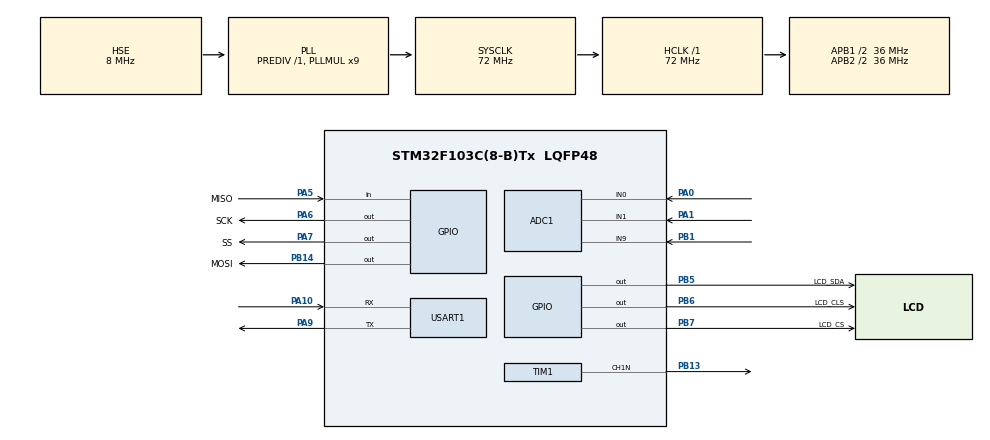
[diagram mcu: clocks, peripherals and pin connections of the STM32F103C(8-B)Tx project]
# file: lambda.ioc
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ADC1.Channel-0\#ChannelRegularConversion=ADC_CHANNEL_0
ADC1.Channel-1\#ChannelRegularConversion=ADC_CHANNEL_1
ADC1.Channel-2\#ChannelRegularConversion=ADC_CHANNEL_9
ADC1.ContinuousConvMode=ENABLE
ADC1.DataAlign=ADC_DATAALIGN_RIGHT
ADC1.DiscontinuousConvMode=DISABLE
ADC1.EnableAnalogWatchDog=false
ADC1.EnableRegularConversion=ENABLE
ADC1.ExternalTrigConv=ADC_SOFTWARE_START
ADC1.InjNumberOfConversion=0
ADC1.NbrOfConversion=3
ADC1.NbrOfConversionFlag=1
ADC1.Rank-0\#ChannelRegularConversion=1
ADC1.Rank-1\#ChannelRegularConversion=2
ADC1.Rank-2\#ChannelRegularConversion=3
ADC1.SamplingTime-0\#ChannelRegularConversion=ADC_SAMPLETIME_13CYCLES_5
ADC1.SamplingTime-1\#ChannelRegularConversion=ADC_SAMPLETIME_13CYCLES_5
ADC1.SamplingTime-2\#ChannelRegularConversion=ADC_SAMPLETIME_13CYCLES_5
ADC1.ScanConvMode=ADC_SCAN_ENABLE
ADC1.master=1
Dma.ADC1.0.Direction=DMA_PERIPH_TO_MEMORY
Dma.ADC1.0.Instance=DMA1_Channel1
Dma.ADC1.0.MemDataAlignment=DMA_MDATAALIGN_HALFWORD
Dma.ADC1.0.MemInc=DMA_MINC_ENABLE
Dma.ADC1.0.Mode=DMA_CIRCULAR
Dma.ADC1.0.PeriphDataAlignment=DMA_PDATAALIGN_HALFWORD
Dma.ADC1.0.PeriphInc=DMA_PINC_DISABLE
Dma.ADC1.0.Priority=DMA_PRIORITY_LOW
Dma.Request0=ADC1
Dma.Request1=USART1_RX
Dma.Request2=USART1_TX
Dma.USART1_RX.1.Direction=DMA_PERIPH_TO_MEMORY
Dma.USART1_RX.1.Instance=DMA1_Channel5
Dma.USART1_RX.1.MemDataAlignment=DMA_MDATAALIGN_BYTE
Dma.USART1_RX.1.MemInc=DMA_MINC_ENABLE
Dma.USART1_RX.1.Mode=DMA_NORMAL
Dma.USART1_RX.1.PeriphDataAlignment=DMA_PDATAALIGN_BYTE
Dma.USART1_RX.1.PeriphInc=DMA_PINC_DISABLE
Dma.USART1_RX.1.Priority=DMA_PRIORITY_MEDIUM
Dma.USART1_TX.2.Direction=DMA_MEMORY_TO_PERIPH
Dma.USART1_TX.2.Instance=DMA1_Channel4
Dma.USART1_TX.2.MemDataAlignment=DMA_MDATAALIGN_BYTE
Dma.USART1_TX.2.MemInc=DMA_MINC_ENABLE
Dma.USART1_TX.2.Mode=DMA_NORMAL
Dma.USART1_TX.2.PeriphDataAlignment=DMA_PDATAALIGN_BYTE
Dma.USART1_TX.2.PeriphInc=DMA_PINC_DISABLE
Dma.USART1_TX.2.Priority=DMA_PRIORITY_LOW
Mcu.Family=STM32F1
Mcu.Name=STM32F103C(8-B)Tx
Mcu.Package=LQFP48
NVIC.DMA1_Channel1_IRQn=true\:0\:0\:false\:false\:true
NVIC.DMA1_Channel4_IRQn=true\:0\:0\:false\:false\:true
NVIC.DMA1_Channel5_IRQn=true\:0\:0\:false\:false\:true
NVIC.PriorityGroup=NVIC_PRIORITYGROUP_2
NVIC.TIM1_UP_IRQn=true\:1\:1\:true\:false\:true
NVIC.USART1_IRQn=true\:0\:0\:false\:false\:true
PA0-WKUP.Signal=ADCx_IN0
PA1.Signal=ADCx_IN1
PA10.Mode=Asynchronous
PA10.Signal=USART1_RX
PA13.Mode=Serial_Wire
PA13.Signal=SYS_JTMS-SWDIO
PA14.Mode=Serial_Wire
PA14.Signal=SYS_JTCK-SWCLK
PA5.GPIO_Label=MISO
PA5.Signal=GPIO_Input
PA6.GPIO_Label=SCK
PA6.Signal=GPIO_Output
PA7.GPIO_Label=SS
PA7.Signal=GPIO_Output
PA9.Mode=Asynchronous
PA9.Signal=USART1_TX
PB1.Signal=ADCx_IN9
PB13.Mode=PWM Generation1 CH1N
PB13.Signal=TIM1_CH1N
PB14.GPIO_Label=MOSI
PB14.Signal=GPIO_Output
PB5.GPIO_Label=LCD_SDA
PB5.Signal=GPIO_Output
PB6.GPIO_Label=LCD_CLS
PB6.Signal=GPIO_Output
PB7.GPIO_Label=LCD_CS
PB7.Signal=GPIO_Output
PD0-OSC_IN.Mode=HSE-External-Oscillator
PD0-OSC_IN.Signal=RCC_OSC_IN
PD1-OSC_OUT.Mode=HSE-External-Oscillator
PD1-OSC_OUT.Signal=RCC_OSC_OUT
ProjectManager.HeapSize=0x200
ProjectManager.StackSize=0x400
ProjectManager.TargetToolchain=MDK-ARM V5
RCC.ADCPresc=RCC_ADCPCLK2_DIV4
RCC.AHBFreq_Value=72000000
RCC.APB1CLKDivider=RCC_HCLK_DIV2
RCC.APB1Freq_Value=36000000
RCC.APB1TimFreq_Value=72000000
RCC.APB2CLKDivider=RCC_HCLK_DIV2
RCC.APB2Freq_Value=36000000
RCC.APB2TimFreq_Value=72000000
RCC.HCLKFreq_Value=72000000
RCC.PLLMUL=RCC_PLL_MUL9
RCC.PLLSourceVirtual=RCC_PLLSOURCE_HSE
RCC.SYSCLKFreq_VALUE=72000000
RCC.SYSCLKSource=RCC_SYSCLKSOURCE_PLLCLK
RCC.USBFreq_Value=72000000
SH.ADCx_IN0.0=ADC1_IN0,IN0
SH.ADCx_IN1.0=ADC1_IN1,IN1
SH.ADCx_IN9.0=ADC1_IN9,IN9
TIM1.AutoReloadPreload=TIM_AUTORELOAD_PRELOAD_ENABLE
TIM1.Channel-PWM\ Generation1\ CH1N=TIM_CHANNEL_1
TIM1.Period=999
TIM1.Prescaler=71
TIM1.Pulse-PWM\ Generation1\ CH1N=200
USART1.VirtualMode=VM_ASYNC
VP_TIM1_VS_ClockSourceINT.Mode=Internal
board=lambda

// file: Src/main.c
/**
  ******************************************************************************
  * File Name          : main.c
  * Description        : Main program body
  ******************************************************************************
  ** This notice applies to any and all portions of this file
  * that are not between comment pairs USER CODE BEGIN and
  * USER CODE END. Other portions of this file, whether
  * inserted by the user or by software development tools
  * are owned by their respective copyright owners.
  *
  * COPYRIGHT(c) 2017 STMicroelectronics
  *
  * Redistribution and use in source and binary forms, with or without modification,
  * are permitted provided that the following conditions are met:
  *   1. Redistributions of source code must retain the above copyright notice,
  *      this list of conditions and the following disclaimer.
  *   2. Redistributions in binary form must reproduce the above copyright notice,
  *      this list of conditions and the following disclaimer in the documentation
  *      and/or other materials provided with the distribution.
  *   3. Neither the name of STMicroelectronics nor the names of its contributors
  *      may be used to endorse or promote products derived from this software
  *      without specific prior written permission.
  *
  * THIS SOFTWARE IS PROVIDED BY THE COPYRIGHT HOLDERS AND CONTRIBUTORS "AS IS"
  * AND ANY EXPRESS OR IMPLIED WARRANTIES, INCLUDING, BUT NOT LIMITED TO, THE
  * IMPLIED WARRANTIES OF MERCHANTABILITY AND FITNESS FOR A PARTICULAR PURPOSE ARE
  * DISCLAIMED. IN NO EVENT SHALL THE COPYRIGHT HOLDER OR CONTRIBUTORS BE LIABLE
  * FOR ANY DIRECT, INDIRECT, INCIDENTAL, SPECIAL, EXEMPLARY, OR CONSEQUENTIAL
  * DAMAGES (INCLUDING, BUT NOT LIMITED TO, PROCUREMENT OF SUBSTITUTE GOODS OR
  * SERVICES; LOSS OF USE, DATA, OR PROFITS; OR BUSINESS INTERRUPTION) HOWEVER
  * CAUSED AND ON ANY THEORY OF LIABILITY, WHETHER IN CONTRACT, STRICT LIABILITY,
  * OR TORT (INCLUDING NEGLIGENCE OR OTHERWISE) ARISING IN ANY WAY OUT OF THE USE
  * OF THIS SOFTWARE, EVEN IF ADVISED OF THE POSSIBILITY OF SUCH DAMAGE.
  *
  ******************************************************************************
  */
#include "main.h"
#include "stm32f1xx_hal.h"
#include "adc.h"
#include "dma.h"
#include "tim.h"
#include "usart.h"
#include "gpio.h"

/* USER CODE BEGIN Includes */
#include "DataFlash.h"
#include "spi.h"
#include "timer.h"

#define STATUS_IDLE 0
#define STATUS_INIT 1
#define STATUS_RAMPUP 2
#define STATUS_RUN 3
#define STATUS_ERR 4
#define LSU49

#ifdef LSU49
  uint16_t temperaturePoint=7600;

  #define R_SET 300.0
 int temp_r[11][2]={
		 {6350,10000},
		 {6450,9000},
		 {6550,8000},
		 {6700,7000},
		 {6850,6000},
		 {7150,5000},
		 {7380,4000},
		 {7800,3000},
		 {8450,2000},
		 {9000,1500},
		 {9500,1200},
 };

#else
  uint16_t temperaturePoint=7400;

  #define R_SET 82.5
 int temp_r[11][2]={
		 {6255,3000},
		 {6320,2000},
		 {6500,1700},
		 {6700,1500},
		 {6850,1200},
		 {7000,1080},
		 {7300,900},
		 {7500,820},
		 {7750,800},
		 {9000,460},
		 {9500,420},
 };

#endif

/* USER CODE END Includes */

/* USER CODE BEGIN PV */
/* Private variables ---------------------------------------------------------*/
  uint8_t saveFlag=0;
uint16_t ADC_buff[50][3]={0,0,0};
uint8_t uart_rx_buff[9];
uint8_t uart_tx_buff[50];
uint8_t version=0;
uint8_t Status_Machine=STATUS_IDLE;
PID_Type PID_Heater;
Saved_Type para_save;
int temp_ua,temp_ur,count_adj;
float urCurrentInit;
double  temp_UA=0,temp_UR=0;
double  k3=30;
/* USER CODE END PV */

void SystemClock_Config(void);

/* USER CODE BEGIN PFP */
/* Private function prototypes -----------------------------------------------*/

/* USER CODE END PFP */

/* USER CODE BEGIN 0 */

int  getAdcAfterFilt(uint8_t chanal , uint8_t filt)
{
	uint32_t adcDate=0,i;
	for(i = 0;i<50;i++)
	adcDate+=ADC_buff[i][chanal];
	return  (int)(adcDate/50);
}

 void Save_PID_Arg(void)
 {
 		STMFLASH_Write(FLASH_BASE+FLASH_PAGE_SIZE*50,(uint16_t *)&para_save,sizeof(Saved_Type)/2);

 }
void Init_PID_Arg(void)
{
		 STMFLASH_Read(FLASH_BASE+FLASH_PAGE_SIZE*50,(uint16_t *)&para_save,sizeof(Saved_Type)/2);
	   if(para_save.lambda==-1)
			{
				para_save.lambda=0;
				para_save.PID_Heater.pid_p=100;
				para_save.PID_Heater.pid_i=10;
				para_save.PID_Heater.pid_d=50;
				para_save.PID_Heater.pid_sumerr=0;
				para_save.R_Set = 3000;
				para_save.offsetUA = 0;
				para_save.offsetUR = 0;
				para_save.PWM_MAX=800;
				para_save.UA_Filt_Ratio=92;
				para_save.UR_Filt_Ratio=30;
			  para_save.O2PPRatio=840;      //博世1号(亿科拆下来的1号)多项式拟合
			//	para_save.O2PPRatio=824;   //基本公式（原来用的公式）
				//para_save.O2PPRatio=102;   //上硅所1号（已坏）
      	//para_save.O2PPRatio=83;   //博世1号(亿科拆下来的1号)
				para_save.partial=21;
				Save_PID_Arg();
		}
}

uint16_t get_temp(int r )
{
	uint8_t index=0;
	uint16_t err=0;

	for(index=0;index<11;index++)
		{
			if(r>temp_r[index][1])
				{
					break;
				}
		}
	err=(long )(temp_r[index-1][1]-r)*(temp_r[index][0]-temp_r[index-1][0])/(temp_r[index-1][1]-temp_r[index][1]);
	return err+temp_r[index-1][0];
}

uint16_t get_lambda_O2PP(double O2PP)
{

  double lambda=0;
	if(O2PP>=0&&O2PP<13)   //1%时理论lambda为1.08
		lambda = (O2PP /100/ 3 +1) / (1-O2PP/100*4.77)*1000-10;
	else if(O2PP>=13)
		lambda =9999;
	//else if(O2PP<0)
	//	lambda = (O2PP /100*2.668+1.00906) *1000;

 // lambda=(0.839*pumpCurrent+10000l)*100/(1000l-0.3901*pumpCurrent);//原始的
   return  lambda;
}

uint16_t get_lambda_Ip(double ip)
{

  double lambda=0;

	//lambda = (1.64581*ip/1000*ip/1000*ip/10000+3.71251*ip/1000*ip/10000+4.27208*ip/10000+1.0399) *1000;
    lambda = (1.71725*ip/1000*ip/1000*ip/10+3.33748*ip/1000*ip/10+3.54254*ip/10+1007.01) ;
 // lambda=(0.839*pumpCurrent+10000l)*100/(1000l-0.3901*pumpCurrent);//原始的
   return  lambda;
}

uint8_t sentToTFT(void)
{
	uint8_t i;
	uart_tx_buff[0]=0xa5;
	uart_tx_buff[1]=0x5a;
	uart_tx_buff[2]=sizeof(Saved_Type)+3;
	uart_tx_buff[3]=0x82;
	uart_tx_buff[4]=0;
	uart_tx_buff[5]=0;
	for(i=0;i<sizeof(Saved_Type);i+=2)
	{
		uart_tx_buff[7+i] = *((uint8_t *)&para_save + i);
		uart_tx_buff[6+i] = *((uint8_t *)&para_save + i+1);
	}
	  HAL_UART_Transmit_DMA(&huart1,uart_tx_buff,sizeof(Saved_Type)+6);
	return 1;
}
int PWM_ctrl(int get_r)
{
	static short err;

	int result;
	err = get_r-para_save.PID_Heater.pid_set;
	para_save.PID_Heater.pid_sumerr+=err;
	if(para_save.PID_Heater.pid_sumerr>10000)
		para_save.PID_Heater.pid_sumerr=10000;
	if(para_save.PID_Heater.pid_sumerr<-10000)
		para_save.PID_Heater.pid_sumerr=-10000;
	result=(int)((para_save.PID_Heater.pid_p/100.0)*err+(para_save.PID_Heater.pid_i/100.0)*para_save.PID_Heater.pid_sumerr\
		+(para_save.PID_Heater.pid_d/100.0)*(err-para_save.PID_Heater.pid_lasterr));
	if(result>1600)
		result=1600;
	if(result<=0)
		result=0;
	return result;
}

void Heater_Ctrl(void )
{

}
void Status_main(void)
{

	switch(Status_Machine)
	{
		case STATUS_IDLE:
					//读出PID参数
					Init_PID_Arg();
					temp_ua=0;
					temp_ur=0;
					count_adj=0;
					Status_Machine=STATUS_INIT;
			break;
		case STATUS_INIT:
					if((CJ125readVersion()&0xf0)!=0x60)
					{
						Status_Machine=STATUS_ERR;
					}
					CJ125readALL();
					DelayTimer(20);
					reg1 = 0xd8;
					reg2 = 0x00;
					CJ125writeALL();
					CJ125readALL();
					if(reg1!=0xd8||reg2!= 0x00)
					{
						Status_Machine=STATUS_ERR;
					}
					DelayTimer(10);
					reg1 = 0xdc;
					reg2 = 0x00;
					CJ125writeALL();
					CJ125readALL();
					if(reg1!=0xdc||reg2!= 0x00)
					{
						Status_Machine=STATUS_ERR;
					}
					DelayTimer(10);
					reg1 = 0xdc;
					reg2 = 0x06;
					CJ125writeALL();
					CJ125readALL();
					if(reg1!=0xdc||reg2!= 0x06)
					{
						Status_Machine=STATUS_ERR;
					}

					Status_Machine=STATUS_RAMPUP;

			break;
		case STATUS_RAMPUP:
				 //AD采集UA UR  进行零点校正
				temp_ua+=getAdcAfterFilt(0,0);
				temp_ur+=getAdcAfterFilt(1,0);
				count_adj++;
				para_save.PWM_set=200+count_adj/2;

				if(count_adj==500)
				{
					reg1 = 0xdc;
					reg2 = 0x02;
					CJ125writeALL();
					CJ125readALL();
					if(reg1!=0xdc||reg2!= 0x02)
					{
						Status_Machine=STATUS_ERR;
					}

				}
				if(count_adj==1000)
				{
				  para_save.offsetUA = temp_ua/count_adj;
					para_save.offsetUR = temp_ur/count_adj;
					urCurrentInit=para_save.offsetUR/R_SET;
					para_save.PID_Heater.pid_set =(para_save.R_Set/10)*urCurrentInit;
					reg1 = 0x88;
					reg2 = 0x02;
					CJ125writeALL();
					CJ125readALL();
					if(reg1!=0x88||reg2!= 0x02)
					{
						Status_Machine=STATUS_ERR;
					}
					DelayTimer(1000);
					reg1 = 0x88;
					reg2 = 0x12;
					CJ125writeALL();
					CJ125readALL();
					if(reg1!=0x88||reg2!= 0x12)
					{
						Status_Machine=STATUS_ERR;
					}
					Status_Machine=STATUS_RUN;
				}
					//线性斜率PWM输出
				if( para_save.PWM_set> para_save.PWM_MAX)
					 para_save.PWM_set= para_save.PWM_MAX;
				TIM1->CCR1  = para_save.PWM_set;
				//读取状态寄存器

			break;
		case STATUS_RUN:
				//PID 加热器
				temp_UR= getAdcAfterFilt(1,0)*(1-para_save.UR_Filt_Ratio/100.0)+temp_UR*(para_save.UR_Filt_Ratio/100.0);
				para_save.UR =temp_UR;

				   temp_UA= getAdcAfterFilt(0,0)*(1-para_save.UA_Filt_Ratio/100.0)+temp_UA*(para_save.UA_Filt_Ratio/100.0);
				para_save.UA = temp_UA;

				para_save.PID_Heater.pid_set =(para_save.R_Set/10)*urCurrentInit;
				para_save.PWM_set = PWM_ctrl(para_save.UR);
		    TIM1->CCR1  = para_save.PWM_set;
				//读取泵电流   数据处理
				//UI发
			break;
		case STATUS_ERR:
			break;
		default:break;

	}
	CJ125readStatus();
	if((reg_status&0xf0)!=0xf0)
	{
	//	Status_Machine=STATUS_ERR;
	}
	if(saveFlag==1)
	{
		saveFlag=0;
		Save_PID_Arg();
	}
}
/* USER CODE END 0 */

int main(void)
{

  /* MCU Configuration----------------------------------------------------------*/

  /* Reset of all peripherals, Initializes the Flash interface and the Systick. */
  HAL_Init();

  /* Configure the system clock */
  SystemClock_Config();

  /* Initialize all configured peripherals */
  MX_GPIO_Init();
  MX_DMA_Init();
  MX_ADC1_Init();
  MX_TIM1_Init();
  MX_USART1_UART_Init();

  /* USER CODE BEGIN 2 */
  HAL_TIMEx_PWMN_Start(&htim1,TIM_CHANNEL_1);
	HAL_ADC_Start_DMA(&hadc1,(uint32_t *)&ADC_buff,150);
  HAL_TIM_Base_Start_IT(&htim1);
  HAL_UART_Receive_DMA(&huart1,uart_rx_buff,9);

	StartTimer(TIMER_RefreshTFT,100);
	StartTimer(TIMERSTATUS_Machine,10);
  /* USER CODE END 2 */

  /* Infinite loop */
  /* USER CODE BEGIN WHILE */
  while (1)
  {
		if(ReadTimer(TIMERSTATUS_Machine)==OK)
		{
			StartTimer(TIMERSTATUS_Machine,10);
			Status_main();
		}
		if(ReadTimer(TIMER_RefreshTFT)==OK)
		{
//			/*************************博世1号多项式*/
			double temp_O2,temp_current;
			temp_current=para_save.pump_current/10000000*para_save.pump_current;
			StartTimer(TIMER_RefreshTFT,100);
			para_save.pump_current =  (para_save.UA -para_save.offsetUA)*16.2694;
	   temp_O2=para_save.pump_current*((para_save.O2PPRatio+0.3)/10000.0)+para_save.partial\
			               -3.47934*temp_current;
		 para_save.O2PP=temp_O2;
			para_save.R_Current = (para_save.UR*10)/urCurrentInit;

//			double temp_O2 , temp_current;
//			temp_current=para_save.pump_current/10000000*para_save.pump_current;
//			StartTimer(TIMER_RefreshTFT,100);
//			para_save.pump_current =  (para_save.UA -para_save.offsetUA)*16.2694;
//	   temp_O2=para_save.pump_current*((para_save.O2PPRatio)/10000.0)+k3\
//			               -3.62784*temp_current;
//		 para_save.O2PP=temp_O2;
//			para_save.R_Current = (para_save.UR*10)/urCurrentInit;

//			/*************************上硅所1号************************/

//	  	StartTimer(TIMER_RefreshTFT,100);
//			para_save.pump_current =  (para_save.UA -para_save.offsetUA)*16.2694;
//		  para_save.O2PP=para_save.pump_current*((para_save.O2PPRatio)/1000.0)+k3;
//			para_save.R_Current = (para_save.UR*10)/urCurrentInit;

					/**********************博世1号*/

//	  	StartTimer(TIMER_RefreshTFT,100);
//			para_save.pump_current =  (para_save.UA -para_save.offsetUA)*16.2694;
//		  para_save.O2PP=para_save.pump_current*((para_save.O2PPRatio)/1000.0)+para_save.partial;
//			para_save.R_Current = (para_save.UR*10)/urCurrentInit;

///**************基本公式************************/
//			StartTimer(TIMER_RefreshTFT,100);
//			para_save.pump_current =  (para_save.UA -para_save.offsetUA)*16.2694;
//		  para_save.O2PP=para_save.pump_current*((para_save.O2PPRatio)/10000.0);
//			para_save.R_Current = (para_save.UR*10)/urCurrentInit;

#ifdef LSU49
			 if(para_save.R_Current>10000||para_save.R_Current<50)
#else
			if(para_save.R_Current>3000||para_save.R_Current<50)
#endif
				{
					para_save.T_Current=0;
				 }
				else
				{
					para_save.T_Current=get_temp(para_save.R_Current);
				 }
				if(para_save.O2PP>=0)
		 	     para_save.lambda=get_lambda_O2PP((double )para_save.O2PP /100);
        else
         	 para_save.lambda	=	get_lambda_Ip(para_save.pump_current/10);
		  sentToTFT();
		}

  /* USER CODE END WHILE */

  }

}

/** System Clock Configuration
*/
void SystemClock_Config(void)
{

  RCC_OscInitTypeDef RCC_OscInitStruct;
  RCC_ClkInitTypeDef RCC_ClkInitStruct;
  RCC_PeriphCLKInitTypeDef PeriphClkInit;

    /**Initializes the CPU, AHB and APB busses clocks
    */
  RCC_OscInitStruct.OscillatorType = RCC_OSCILLATORTYPE_HSE;
  RCC_OscInitStruct.HSEState = RCC_HSE_ON;
  RCC_OscInitStruct.HSEPredivValue = RCC_HSE_PREDIV_DIV1;
  RCC_OscInitStruct.HSIState = RCC_HSI_ON;
  RCC_OscInitStruct.PLL.PLLState = RCC_PLL_ON;
  RCC_OscInitStruct.PLL.PLLSource = RCC_PLLSOURCE_HSE;
  RCC_OscInitStruct.PLL.PLLMUL = RCC_PLL_MUL9;
  if (HAL_RCC_OscConfig(&RCC_OscInitStruct) != HAL_OK)
  {
    _Error_Handler(__FILE__, __LINE__);
  }

    /**Initializes the CPU, AHB and APB busses clocks
    */
  RCC_ClkInitStruct.ClockType = RCC_CLOCKTYPE_HCLK|RCC_CLOCKTYPE_SYSCLK
                              |RCC_CLOCKTYPE_PCLK1|RCC_CLOCKTYPE_PCLK2;
  RCC_ClkInitStruct.SYSCLKSource = RCC_SYSCLKSOURCE_PLLCLK;
  RCC_ClkInitStruct.AHBCLKDivider = RCC_SYSCLK_DIV1;
  RCC_ClkInitStruct.APB1CLKDivider = RCC_HCLK_DIV2;
  RCC_ClkInitStruct.APB2CLKDivider = RCC_HCLK_DIV2;

  if (HAL_RCC_ClockConfig(&RCC_ClkInitStruct, FLASH_LATENCY_2) != HAL_OK)
  {
    _Error_Handler(__FILE__, __LINE__);
  }

  PeriphClkInit.PeriphClockSelection = RCC_PERIPHCLK_ADC;
  PeriphClkInit.AdcClockSelection = RCC_ADCPCLK2_DIV4;
  if (HAL_RCCEx_PeriphCLKConfig(&PeriphClkInit) != HAL_OK)
  {
    _Error_Handler(__FILE__, __LINE__);
  }

    /**Configure the Systick interrupt time
    */
  HAL_SYSTICK_Config(HAL_RCC_GetHCLKFreq()/1000);

    /**Configure the Systick
    */
  HAL_SYSTICK_CLKSourceConfig(SYSTICK_CLKSOURCE_HCLK);

  /* SysTick_IRQn interrupt configuration */
  HAL_NVIC_SetPriority(SysTick_IRQn, 0, 0);
}

void _Error_Handler(char * file, int line)
{
  while(1)
  {
  }
}

/************************ (C) COPYRIGHT STMicroelectronics *****END OF FILE****/
